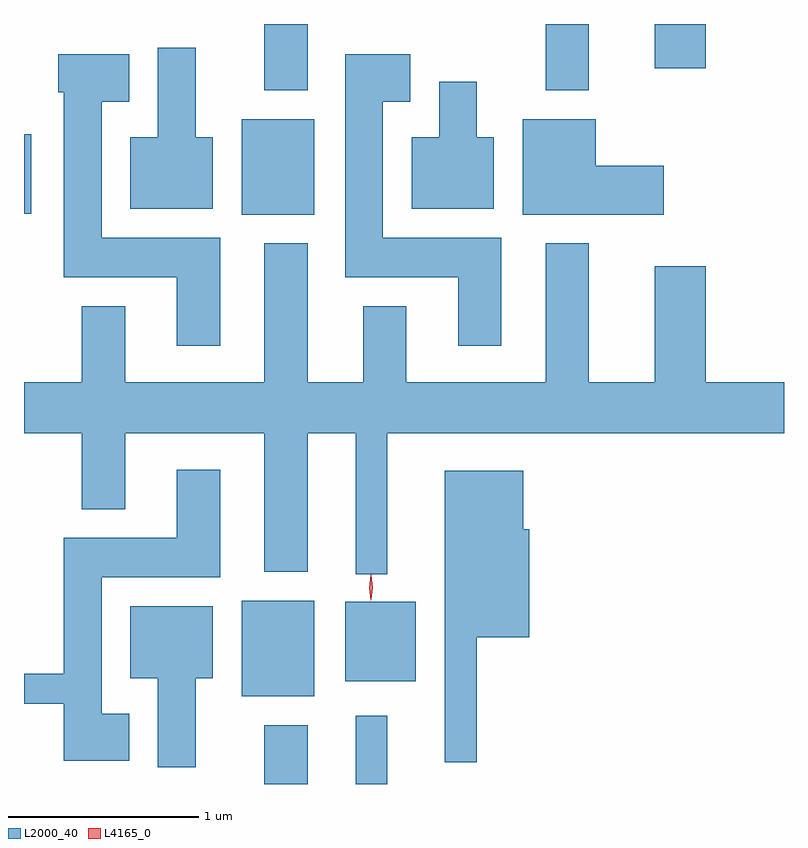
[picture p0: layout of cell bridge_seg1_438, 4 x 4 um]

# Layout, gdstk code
import gdstk
lib = gdstk.Library(unit=1e-6, precision=1e-09)
def R(c, l, rs):  # rectangles x0, y0, x1, y1
    for r in rs: c.add(gdstk.rectangle(r[:2], r[2:], *l))
def P(c, l, *ps):  # polygons
    for p in ps: c.add(gdstk.Polygon(p, *l))
L2000_40 = (2000, 40)
L4165_0 = (4165, 0)

bridge_seg1_438 = lib.new_cell('bridge_seg1_438')
R(bridge_seg1_438, L2000_40, [(233.001,851.109,233.229,851.419), (233.481,851.109,233.649,851.468), (232.881,851.571,233.264,852.074), (233.426,851.651,233.799,852.069), (232.881,854.106,233.264,854.609), (231.736,854.111,231.774,854.529), (233.001,854.761,233.229,855.109), (234.481,854.761,234.709,855.109), (235.056,854.876,235.324,855.109)])
P(bridge_seg1_438, L2000_40, [(232.729,854.514),(232.639,854.514),(232.639,854.984),(232.441,854.984),(232.441,854.514),(232.296,854.514),(232.296,854.136),(232.729,854.136)],
  [(234.249,853.984),(233.624,853.984),(233.624,854.701),(233.769,854.701),(233.769,854.949),(233.426,854.949),(233.426,853.776),(234.021,853.776),(234.021,853.416),(234.249,853.416)],
  [(232.769,853.984),(232.144,853.984),(232.144,854.701),(232.289,854.701),(232.289,854.949),(231.916,854.949),(231.916,854.751),(231.946,854.751),(231.946,853.776),(232.541,853.776),(232.541,853.416),(232.769,853.416)],
  [(234.209,854.514),(234.119,854.514),(234.119,854.804),(233.921,854.804),(233.921,854.514),(233.776,854.514),(233.776,854.136),(234.209,854.136)],
  [(235.104,854.364),(234.744,854.364),(234.744,854.609),(234.361,854.609),(234.361,854.106),(235.104,854.106)],
  [(233.649,852.956),(235.736,852.956),(235.736,853.224),(235.324,853.224),(235.324,853.834),(235.056,853.834),(235.056,853.224),(234.709,853.224),(234.709,853.954),(234.481,853.954),(234.481,853.224),(233.749,853.224),(233.749,853.624),(233.521,853.624),(233.521,853.224),(233.229,853.224),(233.229,853.954),(233.001,853.954),(233.001,853.224),(232.269,853.224),(232.269,853.624),(232.041,853.624),(232.041,853.224),(231.736,853.224),(231.736,852.956),(232.041,852.956),(232.041,852.556),(232.269,852.556),(232.269,852.956),(233.001,852.956),(233.001,852.226),(233.229,852.226),(233.229,852.956),(233.481,852.956),(233.481,852.213),(233.649,852.213)],
  [(232.289,851.479),(232.144,851.479),(232.144,852.196),(232.769,852.196),(232.769,852.764),(232.541,852.764),(232.541,852.404),(231.946,852.404),(231.946,851.689),(231.736,851.689),(231.736,851.531),(231.946,851.531),(231.946,851.231),(232.289,851.231)],
  [(234.119,851.881),(234.394,851.881),(234.394,852.449),(234.364,852.449),(234.364,852.759),(233.951,852.759),(233.951,851.223),(234.119,851.223)],
  [(232.639,851.666),(232.729,851.666),(232.729,852.044),(232.296,852.044),(232.296,851.666),(232.441,851.666),(232.441,851.196),(232.639,851.196)])
P(bridge_seg1_438, L4165_0, [(233.562,852.078),(233.562,852.079),(233.552,852.142),(233.562,852.206),(233.562,852.207),(233.563,852.206),(233.572,852.142),(233.563,852.079)],
  [(233.561,852.074),(233.552,852.142),(233.562,852.21),(233.562,852.21),(233.563,852.21),(233.572,852.142),(233.562,852.074),(233.562,852.074)])

lib.write_gds('bridge_seg1_438.gds')
